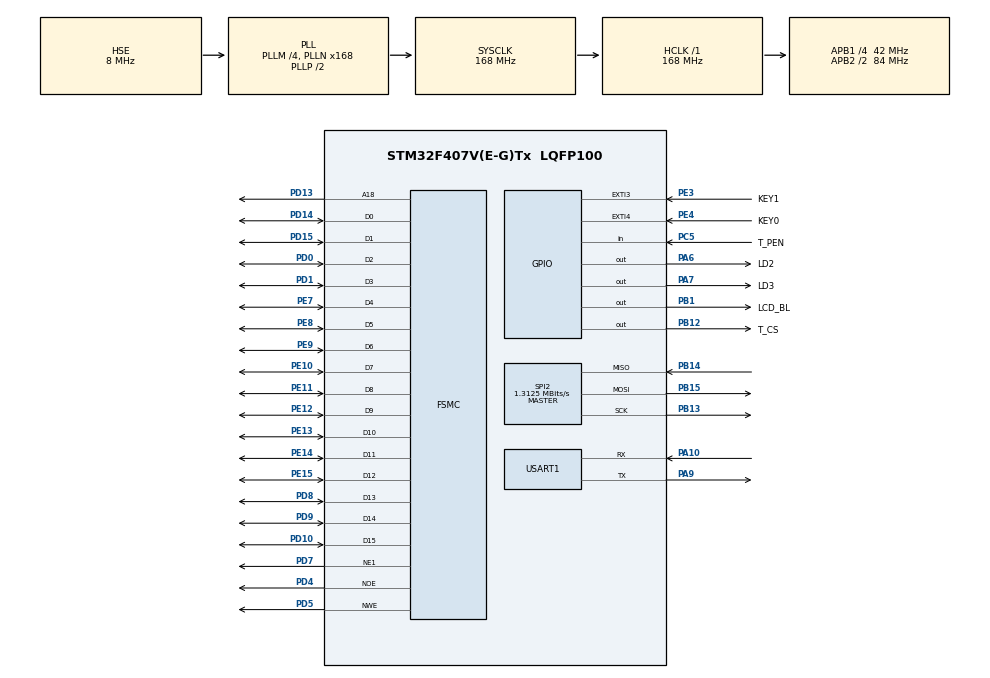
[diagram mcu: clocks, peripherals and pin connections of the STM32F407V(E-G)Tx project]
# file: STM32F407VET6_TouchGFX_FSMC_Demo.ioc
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FSMC.AddressSetupTime1=1
FSMC.BusTurnAroundDuration1=0
FSMC.DataSetupTime1=5
FSMC.ExtendedMode1=FSMC_EXTENDED_MODE_DISABLE
Mcu.Family=STM32F4
Mcu.Name=STM32F407V(E-G)Tx
Mcu.Package=LQFP100
NVIC.EXTI3_IRQn=true\:0\:0\:false\:false\:true\:true\:true\:true
NVIC.EXTI4_IRQn=true\:0\:0\:false\:false\:true\:true\:true\:true
NVIC.PriorityGroup=NVIC_PRIORITYGROUP_4
NVIC.RTC_Alarm_IRQn=true\:0\:0\:false\:false\:true\:true\:true\:true
NVIC.TIM7_IRQn=true\:0\:0\:false\:false\:true\:true\:true\:true
PA10.Mode=Asynchronous
PA10.Signal=USART1_RX
PA13.Mode=Serial_Wire
PA13.Signal=SYS_JTMS-SWDIO
PA14.Mode=Serial_Wire
PA14.Signal=SYS_JTCK-SWCLK
PA6.GPIO_Label=LD2
PA6.PinState=GPIO_PIN_SET
PA6.Signal=GPIO_Output
PA7.GPIO_Label=LD3
PA7.PinState=GPIO_PIN_SET
PA7.Signal=GPIO_Output
PA9.Mode=Asynchronous
PA9.Signal=USART1_TX
PB1.GPIO_Label=LCD_BL
PB1.Signal=GPIO_Output
PB12.GPIO_Label=T_CS
PB12.GPIO_PuPd=GPIO_PULLUP
PB12.PinState=GPIO_PIN_SET
PB12.Signal=GPIO_Output
PB13.Mode=Full_Duplex_Master
PB13.Signal=SPI2_SCK
PB14.Mode=Full_Duplex_Master
PB14.Signal=SPI2_MISO
PB15.Mode=Full_Duplex_Master
PB15.Signal=SPI2_MOSI
PC14-OSC32_IN.Mode=LSE-External-Oscillator
PC14-OSC32_IN.Signal=RCC_OSC32_IN
PC15-OSC32_OUT.Mode=LSE-External-Oscillator
PC15-OSC32_OUT.Signal=RCC_OSC32_OUT
PC5.GPIO_Label=T_PEN
PC5.GPIO_PuPd=GPIO_PULLUP
PC5.Signal=GPIO_Input
PD0.Mode=16b-d1
PD0.Signal=FSMC_D2
PD1.Mode=16b-d1
PD1.Signal=FSMC_D3
PD10.Mode=16b-d1
PD10.Signal=FSMC_D15
PD13.Mode=A18_1
PD13.Signal=FSMC_A18
PD14.Mode=16b-d1
PD14.Signal=FSMC_D0
PD15.Mode=16b-d1
PD15.Signal=FSMC_D1
PD4.Mode=Lcd1
PD4.Signal=FSMC_NOE
PD5.Mode=Lcd1
PD5.Signal=FSMC_NWE
PD7.Mode=NorPsramChipSelect1_1
PD7.Signal=FSMC_NE1
PD8.Mode=16b-d1
PD8.Signal=FSMC_D13
PD9.Mode=16b-d1
PD9.Signal=FSMC_D14
PE10.Mode=16b-d1
PE10.Signal=FSMC_D7
PE11.Mode=16b-d1
PE11.Signal=FSMC_D8
PE12.Mode=16b-d1
PE12.Signal=FSMC_D9
PE13.Mode=16b-d1
PE13.Signal=FSMC_D10
PE14.Mode=16b-d1
PE14.Signal=FSMC_D11
PE15.Mode=16b-d1
PE15.Signal=FSMC_D12
PE3.GPIO_Label=KEY1
PE3.GPIO_ModeDefaultEXTI=GPIO_MODE_IT_FALLING
PE3.GPIO_PuPd=GPIO_PULLUP
PE3.Signal=GPXTI3
PE4.GPIO_Label=KEY0
PE4.GPIO_ModeDefaultEXTI=GPIO_MODE_IT_FALLING
PE4.GPIO_PuPd=GPIO_PULLUP
PE4.Signal=GPXTI4
PE7.Mode=16b-d1
PE7.Signal=FSMC_D4
PE8.Mode=16b-d1
PE8.Signal=FSMC_D5
PE9.Mode=16b-d1
PE9.Signal=FSMC_D6
PH0-OSC_IN.Mode=HSE-External-Oscillator
PH0-OSC_IN.Signal=RCC_OSC_IN
PH1-OSC_OUT.Mode=HSE-External-Oscillator
PH1-OSC_OUT.Signal=RCC_OSC_OUT
ProjectManager.HeapSize=0x200
ProjectManager.StackSize=0x400
ProjectManager.TargetToolchain=STM32CubeIDE
RCC.48MHZClocksFreq_Value=84000000
RCC.AHBFreq_Value=168000000
RCC.APB1CLKDivider=RCC_HCLK_DIV4
RCC.APB1Freq_Value=42000000
RCC.APB1TimFreq_Value=84000000
RCC.APB2CLKDivider=RCC_HCLK_DIV2
RCC.APB2Freq_Value=84000000
RCC.APB2TimFreq_Value=168000000
RCC.CortexFreq_Value=168000000
RCC.HCLKFreq_Value=168000000
RCC.HSE_VALUE=8000000
RCC.HSI_VALUE=16000000
RCC.PLLM=4
RCC.PLLN=168
RCC.PLLSourceVirtual=RCC_PLLSOURCE_HSE
RCC.RCC_RTC_Clock_Source=RCC_RTCCLKSOURCE_LSE
RCC.RCC_RTC_Clock_SourceVirtual=RCC_RTCCLKSOURCE_LSE
RCC.SYSCLKFreq_VALUE=168000000
RCC.SYSCLKSource=RCC_SYSCLKSOURCE_PLLCLK
RCC.VCOOutputFreq_Value=336000000
RTC.Alarm=RTC_ALARM_A
RTC.AlarmMaskDateWeekDay=RTC_ALARMMASK_DATEWEEKDAY
RTC.AlarmMaskHours=RTC_ALARMMASK_HOURS
RTC.AlarmMaskMinutes=RTC_ALARMMASK_MINUTES
RTC.AlarmMaskSeconds=RTC_ALARMMASK_SECONDS
RTC.Date=26
RTC.Format=RTC_FORMAT_BIN
RTC.Hours=19
RTC.Minutes=1
RTC.Month=RTC_MONTH_JUNE
RTC.WeekDay=RTC_WEEKDAY_SUNDAY
RTC.Year=22
SPI2.BaudRatePrescaler=SPI_BAUDRATEPRESCALER_32
SPI2.CalculateBaudRate=1.3125 MBits/s
SPI2.Direction=SPI_DIRECTION_2LINES
SPI2.Mode=SPI_MODE_MASTER
SPI2.VirtualType=VM_MASTER
STMicroelectronics.X-CUBE-TOUCHGFX.4.21.4.ApplicationCcGraphicsJjApplication=TouchGFXOoGenerator
STMicroelectronics.X-CUBE-TOUCHGFX.4.21.4.tgfx_block_size=1920
STMicroelectronics.X-CUBE-TOUCHGFX.4.21.4.tgfx_buffering_strategy=Partial
STMicroelectronics.X-CUBE-TOUCHGFX.4.21.4.tgfx_custom_height=320
STMicroelectronics.X-CUBE-TOUCHGFX.4.21.4.tgfx_custom_width=240
STMicroelectronics.X-CUBE-TOUCHGFX.4.21.4.tgfx_display_interface=disp_fmc
STMicroelectronics.X-CUBE-TOUCHGFX.4.21.4.tgfx_number_of_blocks=5
STMicroelectronics.X-CUBE-TOUCHGFX.4.21.4_IsPackSelfContextualization=true
TIM7.Period=29999
TIM7.Prescaler=83
USART1.VirtualMode=VM_ASYNC
VP_CRC_VS_CRC.Mode=CRC_Activate
VP_RTC_VS_RTC_Activate.Mode=RTC_Enabled
VP_RTC_VS_RTC_Alarm_A_Intern.Mode=Alarm A
VP_RTC_VS_RTC_Calendar.Mode=RTC_Calendar
VP_STMicroelectronics.X-CUBE-TOUCHGFX_VS_GraphicsJjApplication_4.21.4.Mode=GraphicsJjApplication
VP_TIM7_VS_ClockSourceINT.Mode=Enable_Timer
board=custom

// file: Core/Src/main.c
/* USER CODE BEGIN Header */
/**
  ******************************************************************************
  * @file           : main.c
  * @brief          : Main program body
  ******************************************************************************
  * @attention
  *
  * Copyright (c) 2022 STMicroelectronics.
  * All rights reserved.
  *
  * This software is licensed under terms that can be found in the LICENSE file
  * in the root directory of this software component.
  * If no LICENSE file comes with this software, it is provided AS-IS.
  *
  ******************************************************************************
  */
/* USER CODE END Header */
#include "main.h"
#include "crc.h"
#include "rtc.h"
#include "spi.h"
#include "tim.h"
#include "usart.h"
#include "gpio.h"
#include "fsmc.h"
#include "app_touchgfx.h"

/* USER CODE BEGIN Includes */
#include <stdio.h>
#include "ili9341_simple.h"
#include "TouchGFX_DataTransfer.h"
/* USER CODE END Includes */

/* USER CODE BEGIN PV */
uint8_t flagOnePerSecond = 0;
__IO uint8_t userButtonState = 255;
/* USER CODE END PV */

void SystemClock_Config(void);
/* USER CODE BEGIN PFP */
RTC_TimeTypeDef ShowRTC_Calendar(void);
void SetTime(uint8_t hours, uint8_t minutes, uint8_t seconds);
/* USER CODE END PFP */

/* USER CODE BEGIN 0 */
int _write(int file, char *ptr, int len)
{
	HAL_UART_Transmit(&huart1, (uint8_t *) ptr, len, HAL_MAX_DELAY);
	return len;
}
/* USER CODE END 0 */

int main(void)
{

  /* MCU Configuration--------------------------------------------------------*/

  /* Reset of all peripherals, Initializes the Flash interface and the Systick. */
  HAL_Init();

  /* Configure the system clock */
  SystemClock_Config();

  /* Initialize all configured peripherals */
  MX_GPIO_Init();
  MX_FSMC_Init();
  MX_USART1_UART_Init();
  MX_CRC_Init();
  MX_TIM7_Init();
  MX_SPI2_Init();
  MX_RTC_Init();
  MX_TouchGFX_Init();
  /* USER CODE BEGIN 2 */
  printf("\x1b[2J\x1b[;H");
  printf("*-------------------------*\r\n");
  printf("* Touch GFX! *\r\n");
  printf("*-------------------------*\r\n");
  HAL_TIM_Base_Start_IT(&htim7);
  lcdBacklightOn();
  lcdInit();
  /* USER CODE END 2 */

  /* Infinite loop */
  while (1)
  {

  MX_TouchGFX_Process();
  }
}

void SystemClock_Config(void)
{
  RCC_OscInitTypeDef RCC_OscInitStruct = {0};
  RCC_ClkInitTypeDef RCC_ClkInitStruct = {0};

  /** Configure the main internal regulator output voltage
  */
  __HAL_RCC_PWR_CLK_ENABLE();
  __HAL_PWR_VOLTAGESCALING_CONFIG(PWR_REGULATOR_VOLTAGE_SCALE1);

  /** Initializes the RCC Oscillators according to the specified parameters
  * in the RCC_OscInitTypeDef structure.
  */
  RCC_OscInitStruct.OscillatorType = RCC_OSCILLATORTYPE_HSE|RCC_OSCILLATORTYPE_LSE;
  RCC_OscInitStruct.HSEState = RCC_HSE_ON;
  RCC_OscInitStruct.LSEState = RCC_LSE_ON;
  RCC_OscInitStruct.PLL.PLLState = RCC_PLL_ON;
  RCC_OscInitStruct.PLL.PLLSource = RCC_PLLSOURCE_HSE;
  RCC_OscInitStruct.PLL.PLLM = 4;
  RCC_OscInitStruct.PLL.PLLN = 168;
  RCC_OscInitStruct.PLL.PLLP = RCC_PLLP_DIV2;
  RCC_OscInitStruct.PLL.PLLQ = 4;
  if (HAL_RCC_OscConfig(&RCC_OscInitStruct) != HAL_OK)
  {
    Error_Handler();
  }

  /** Initializes the CPU, AHB and APB buses clocks
  */
  RCC_ClkInitStruct.ClockType = RCC_CLOCKTYPE_HCLK|RCC_CLOCKTYPE_SYSCLK
                              |RCC_CLOCKTYPE_PCLK1|RCC_CLOCKTYPE_PCLK2;
  RCC_ClkInitStruct.SYSCLKSource = RCC_SYSCLKSOURCE_PLLCLK;
  RCC_ClkInitStruct.AHBCLKDivider = RCC_SYSCLK_DIV1;
  RCC_ClkInitStruct.APB1CLKDivider = RCC_HCLK_DIV4;
  RCC_ClkInitStruct.APB2CLKDivider = RCC_HCLK_DIV2;

  if (HAL_RCC_ClockConfig(&RCC_ClkInitStruct, FLASH_LATENCY_5) != HAL_OK)
  {
    Error_Handler();
  }
}

/* USER CODE BEGIN 4 */
void SetTime(uint8_t hours, uint8_t minutes, uint8_t seconds)
{
	RTC_TimeTypeDef sTime = {0};
	/** Initialize RTC and set the Time and Date */
	sTime.Hours = hours;
	sTime.Minutes = minutes;
	sTime.Seconds = seconds;
	if (HAL_RTC_SetTime(&hrtc, &sTime, RTC_FORMAT_BIN) != HAL_OK)
	{
		Error_Handler();
	}
	HAL_RTCEx_BKUPWrite(&hrtc, RTC_BKP_DR1, MAGIC_NUMBER);
}

RTC_TimeTypeDef ShowRTC_Calendar(void)
{
	RTC_TimeTypeDef sTime = {0};
	RTC_DateTypeDef sDate = {0};
	HAL_RTC_GetTime(&hrtc, &sTime, RTC_FORMAT_BIN);
	HAL_RTC_GetDate(&hrtc, &sDate, RTC_FORMAT_BIN);
	printf("Data: %.2d-%.2d-%.2d-%.2d\r\n", sDate.Date, sDate.Month, sDate.Year, sDate.WeekDay);
	printf("Time: %.2d:%.2d:%.2d\r\n", sTime.Hours, sTime.Minutes, sTime.Seconds);
	printf("\x1b[1F");
	printf("\x1b[1F");
	return sTime;
}

void HAL_RTC_AlarmAEventCallback(RTC_HandleTypeDef *hrtc)
{
	if(hrtc->Instance == RTC)
	{
		flagOnePerSecond = 1;
	}
}

void HAL_TIM_PeriodElapsedCallback(TIM_HandleTypeDef *htim)
{
	if (htim->Instance == TIM7)
	{
		touchgfxSignalVSync();
	}
}

void HAL_GPIO_EXTI_Callback(uint16_t GPIO_Pin)
{
	if (GPIO_Pin == KEY0_Pin)
	{
		userButtonState = 0;
		printf("KEY0 is pressed!\r\n");
		printf("\x1b[1F");
	}
	else if (GPIO_Pin == KEY1_Pin)
	{
		userButtonState = 1;
		printf("KEY1 is pressed!\r\n");
		printf("\x1b[1F");
	}
	else
	{
		__NOP();
	}
}
/* USER CODE END 4 */

void Error_Handler(void)
{
  __disable_irq();
  while (1)
  {
  }
}
